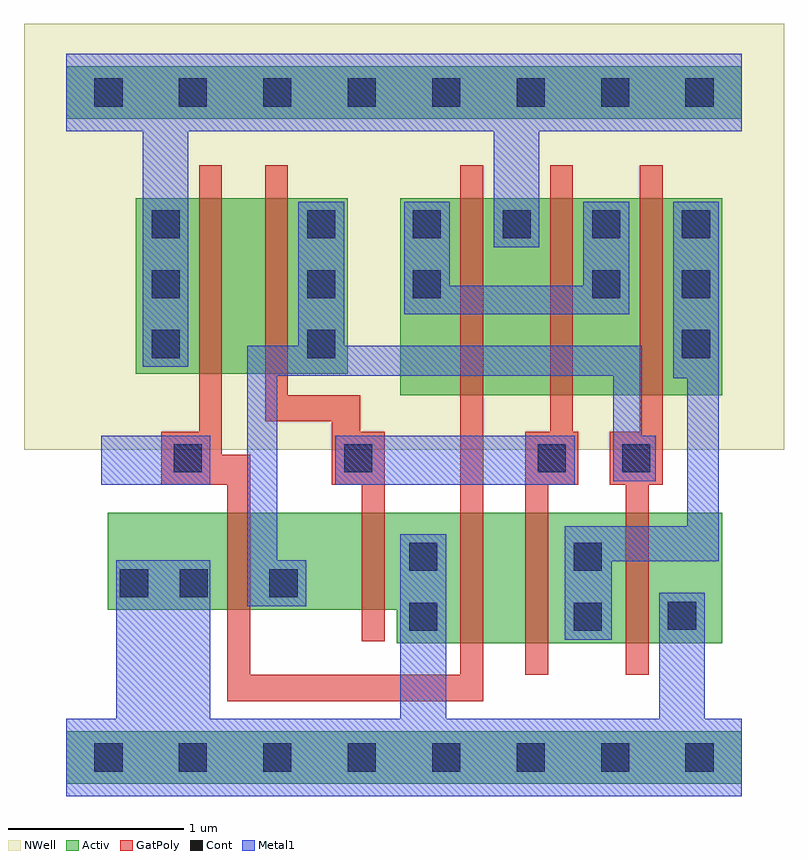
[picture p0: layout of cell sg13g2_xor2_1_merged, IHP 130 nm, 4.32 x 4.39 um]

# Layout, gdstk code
import gdstk
lib = gdstk.Library(unit=1e-6, precision=1e-09)
def R(c, l, rs):  # rectangles x0, y0, x1, y1
    for r in rs: c.add(gdstk.rectangle(r[:2], r[2:], *l))
def A(c, l, x, y, w, h, nx, ny, dx, dy):  # array of equal rectangles
    R(c, l, [(x+i*dx, y+j*dy, x+i*dx+w, y+j*dy+h) for i in range(nx) for j in range(ny)])
def P(c, l, *ps):  # polygons
    for p in ps: c.add(gdstk.Polygon(p, *l))
Activ = (1, 0)
GatPoly = (5, 0)
Cont = (6, 0)
Metal1 = (8, 0)
NWell = (31, 0)

sg13g2_xor2_1_merged = lib.new_cell('sg13g2_xor2_1_merged')
R(sg13g2_xor2_1_merged, Activ, [(0,-0.15,3.84,0.15), (1.9,2.06,3.73,3.18), (0.395,2.18,1.6,3.18), (0,3.63,3.84,3.93)])
P(sg13g2_xor2_1_merged, Activ, [(1.88,0.65),(1.88,0.84),(0.235,0.84),(0.235,1.39),(3.73,1.39),(3.73,0.65)])
P(sg13g2_xor2_1_merged, GatPoly, [(1.68,0.66),(1.68,1.55),(1.51,1.55),(1.51,1.91),(1.13,1.91),(1.13,3.365),(1.26,3.365),(1.26,2.06),(1.67,2.06),(1.67,1.85),(1.81,1.85),(1.81,0.66)],
  [(0.915,0.32),(0.915,1.55),(0.54,1.55),(0.54,1.85),(0.755,1.85),(0.755,3.365),(0.885,3.365),(0.885,1.72),(1.045,1.72),(1.045,0.47),(2.24,0.47),(2.24,3.365),(2.37,3.365),(2.37,0.32)],
  [(2.61,0.47),(2.61,1.85),(2.75,1.85),(2.75,3.365),(2.88,3.365),(2.88,1.85),(2.91,1.85),(2.91,1.55),(2.74,1.55),(2.74,0.47)],
  [(3.18,0.47),(3.18,1.55),(3.09,1.55),(3.09,1.85),(3.26,1.85),(3.26,3.365),(3.39,3.365),(3.39,1.55),(3.31,1.55),(3.31,0.47)])
A(sg13g2_xor2_1_merged, Cont, 0.16, -0.08, 0.16, 0.16, 8, 2, 0.48, 3.78)
A(sg13g2_xor2_1_merged, Cont, 0.485, 2.27, 0.16, 0.16, 1, 3, 0, 0.34)
A(sg13g2_xor2_1_merged, Cont, 1.37, 2.27, 0.16, 0.16, 1, 3, 0, 0.34)
A(sg13g2_xor2_1_merged, Cont, 1.97, 2.95, 0.16, 0.16, 4, 1, 0.51, 0)
R(sg13g2_xor2_1_merged, Cont, [(1.95,0.72,2.11,0.88), (2.885,0.72,3.045,0.88), (3.42,0.725,3.58,0.885), (0.305,0.91,0.465,1.07), (0.645,0.91,0.805,1.07), (1.155,0.91,1.315,1.07), (1.95,1.06,2.11,1.22), (2.885,1.06,3.045,1.22), (0.61,1.62,0.77,1.78), (1.58,1.62,1.74,1.78), (2.68,1.62,2.84,1.78), (3.16,1.62,3.32,1.78), (3.5,2.27,3.66,2.43), (1.97,2.61,2.13,2.77), (2.99,2.61,3.15,2.77), (3.5,2.61,3.66,2.77)])
R(sg13g2_xor2_1_merged, Metal1, [(0.2,1.55,0.82,1.83), (1.53,1.55,2.89,1.83)])
P(sg13g2_xor2_1_merged, Metal1, [(0,-0.22),(0,0.22),(0.285,0.22),(0.285,1.12),(0.82,1.12),(0.82,0.22),(1.9,0.22),(1.9,1.27),(2.16,1.27),(2.16,0.22),(3.37,0.22),(3.37,0.935),(3.63,0.935),(3.63,0.22),(3.84,0.22),(3.84,-0.22)],
  [(1.03,0.86),(1.03,2.34),(1.32,2.34),(1.32,3.16),(1.58,3.16),(1.58,2.34),(3.27,2.34),(3.27,1.83),(3.35,1.83),(3.35,1.57),(3.11,1.57),(3.11,2.17),(1.2,2.17),(1.2,1.12),(1.365,1.12),(1.365,0.86)],
  [(1.92,2.52),(1.92,3.16),(2.18,3.16),(2.18,2.68),(2.94,2.68),(2.94,3.16),(3.2,3.16),(3.2,2.52)],
  [(2.835,0.67),(2.835,1.315),(3.53,1.315),(3.53,2.155),(3.45,2.155),(3.45,3.16),(3.71,3.16),(3.71,1.115),(3.1,1.115),(3.1,0.67)],
  [(0.435,2.22),(0.435,3.56),(0,3.56),(0,4),(3.84,4),(3.84,3.56),(2.69,3.56),(2.69,2.9),(2.43,2.9),(2.43,3.56),(0.695,3.56),(0.695,2.22)])
R(sg13g2_xor2_1_merged, NWell, [(-0.24,1.75,4.08,4.17)])

lib.write_gds('sg13g2_xor2_1_merged.gds')
